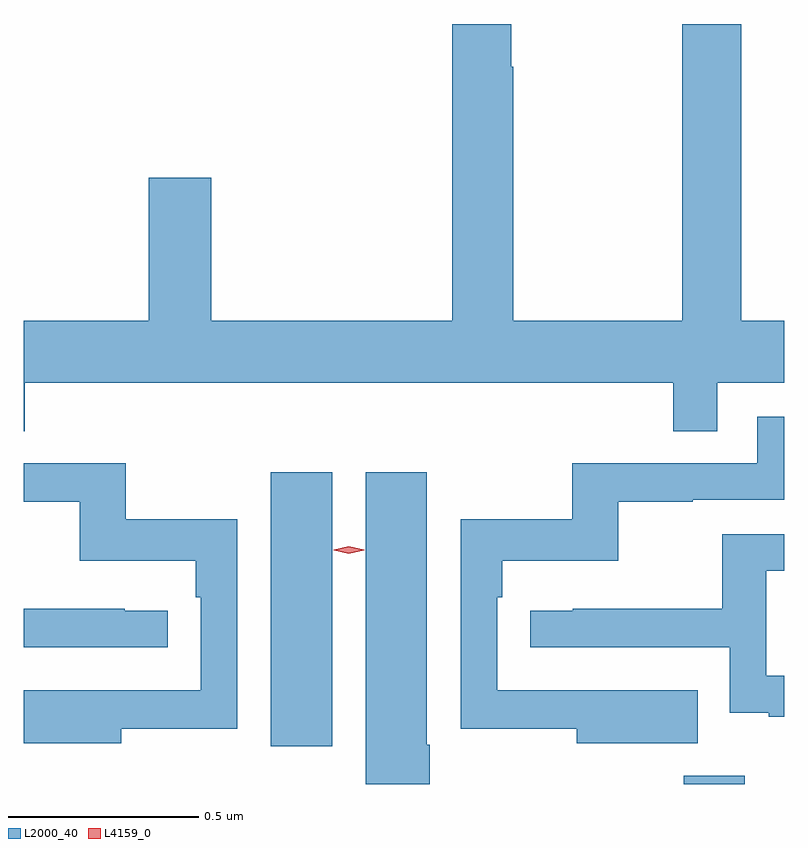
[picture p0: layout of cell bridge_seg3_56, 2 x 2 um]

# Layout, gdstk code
import gdstk
lib = gdstk.Library(unit=1e-6, precision=1e-09)
def R(c, l, rs):  # rectangles x0, y0, x1, y1
    for r in rs: c.add(gdstk.rectangle(r[:2], r[2:], *l))
def P(c, l, *ps):  # polygons
    for p in ps: c.add(gdstk.Polygon(p, *l))
L2000_40 = (2000, 40)
L4159_0 = (4159, 0)

bridge_seg3_56 = lib.new_cell('bridge_seg3_56')
R(bridge_seg3_56, L2000_40, [(933.647,683.877,933.807,683.899), (932.561,683.976,932.722,684.697)])
P(bridge_seg3_56, L2000_40, [(931.913,684.932),(933.619,684.932),(933.619,684.805),(933.735,684.805),(933.735,684.932),(933.911,684.932),(933.911,685.096),(933.798,685.096),(933.798,685.876),(933.643,685.876),(933.643,685.096),(933.198,685.096),(933.198,685.763),(933.193,685.763),(933.193,685.876),(933.038,685.876),(933.038,685.096),(932.404,685.096),(932.404,685.471),(932.24,685.471),(932.24,685.096),(931.911,685.096),(931.911,684.805),(931.913,684.805)],
  [(933.683,684.124),(933.469,684.124),(933.469,684.123),(933.156,684.123),(933.156,684.368),(933.17,684.368),(933.17,684.464),(933.475,684.464),(933.475,684.619),(933.671,684.619),(933.671,684.624),(933.911,684.624),(933.911,684.843),(933.84,684.843),(933.84,684.72),(933.354,684.72),(933.354,684.574),(933.06,684.574),(933.06,684.022),(933.365,684.022),(933.365,683.984),(933.683,683.984)],
  [(932.167,684.022),(932.472,684.022),(932.472,684.574),(932.179,684.574),(932.179,684.72),(931.911,684.72),(931.911,684.619),(932.058,684.619),(932.058,684.464),(932.363,684.464),(932.363,684.368),(932.376,684.368),(932.376,684.123),(932.063,684.123),(932.063,684.124),(931.911,684.124),(931.911,683.984),(932.167,683.984)],
  [(932.979,683.98),(932.971,683.98),(932.971,684.697),(932.81,684.697),(932.81,683.877),(932.979,683.877)],
  [(933.911,684.162),(933.864,684.162),(933.864,684.438),(933.911,684.438),(933.911,684.534),(933.748,684.534),(933.748,684.338),(933.355,684.338),(933.355,684.333),(933.243,684.333),(933.243,684.237),(933.768,684.237),(933.768,684.065),(933.871,684.065),(933.871,684.054),(933.911,684.054)],
  [(932.29,684.333),(932.177,684.333),(932.177,684.338),(931.911,684.338),(931.911,684.237),(932.29,684.237)])
P(bridge_seg3_56, L4159_0, [(932.766,684.483),(932.726,684.492),(932.726,684.493),(932.726,684.493),(932.766,684.503),(932.806,684.493),(932.806,684.493),(932.806,684.492)])

lib.write_gds('bridge_seg3_56.gds')
